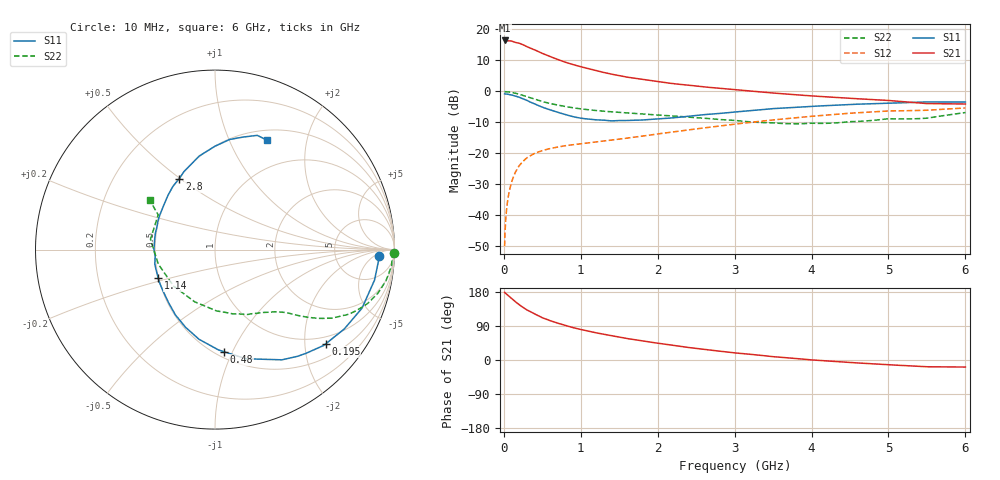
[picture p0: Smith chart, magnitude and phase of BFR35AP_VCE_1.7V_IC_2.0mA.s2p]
! Infineon Technologies  Discrete & RF Semiconductors
! BFR35AP
! VCE =  1.7 V,  IC =  2.0 mA
! Common Emitter S-Parameters:  Nov 2015
# GHz  S  MA  R  50
!  f  S11  S21  S12  S22
! GHz  MAG  ANG  MAG  ANG  MAG  ANG  MAG  ANG
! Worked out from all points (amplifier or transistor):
!   210 points, 10 MHz to 6 GHz, reference 50 ohm
!   highest |S21| = 16.5 dB at 10 MHz (marker M1)
!   |S21| within 3 dB of that: start of sweep to 396.7 MHz
!   unconditionally stable (mu >= 1): 1.122 GHz to end of sweep
!   at 185 MHz: K = 0.22, MSG = 20.1 dB, |S12| = -24.5 dB
!   at 1.52 GHz: K = 1.15, MAG = 7.8 dB, |S12| = -15.3 dB
!   at 6 GHz: K = 1.03, MAG = -0.4 dB, |S12| = -5.3 dB
!   S11 on the Smith chart (normalised r, x): 10 MHz: 19, -8; 195 MHz: 0.81, -2.49; 480 MHz: 0.55, -0.93; 1.14 GHz: 0.50, -0.18; 2.8 GHz: 0.50, +0.49; 6 GHz: 0.62, +1.39
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0.01  0.9143 -2.1  6.65 178.6  0.0032 87.6  0.9975 -1.0
0.025  0.9102 -5.5  6.539 175.5  0.0088 86.3  0.9885 -2.6
0.055  0.9013 -11.9  6.581 170.4  0.0193 82.7  0.9855 -5.8
0.1  0.8819 -21.7  6.513 162.6  0.0343 78.2  0.9681 -10.4
0.15  0.845 -31.6  6.189 153.6  0.0499 71.9  0.9391 -15.1
0.195  0.8101 -40.4  6.015 146.7  0.0622 66.8  0.9067 -18.9
0.24  0.7685 -48.8  5.739 140.0  0.0726 62.6  0.8697 -22.3
0.3  0.7187 -58.7  5.282 132.2  0.0852 58.5  0.8254 -25.9
0.4  0.632 -74.2  4.691 121.4  0.1005 52.3  0.7534 -30.5
0.48  0.5711 -85.0  4.221 113.7  0.109 48.6  0.7001 -33.2
0.6  0.5076 -100.1  3.662 103.9  0.1201 45.0  0.6395 -36.1
0.7  0.4631 -110.7  3.284 97.1  0.1269 43.2  0.6035 -37.8
0.9  0.3926 -131.3  2.711 85.4  0.1388 41.3  0.5452 -40.6
1.02  0.3681 -142.7  2.472 79.7  0.1443 41.2  0.5206 -42.2
1.14  0.3538 -153.7  2.267 74.3  0.1505 41.0  0.5012 -43.9
1.6  0.3404 172.0  1.704 56.7  0.1768 42.0  0.451 -50.8
2.02  0.363 148.0  1.432 43.7  0.2081 43.2  0.4152 -59.0
2.8  0.4419 116.8  1.128 23.4  0.2783 41.0  0.3537 -81.0
3.1  0.4781 109.0  1.042 17.0  0.3072 38.5  0.3319 -92.7
4.1  0.5837 88.4  0.833 -1.0  0.4071 27.9  0.3058 -144.2
5.1  0.6527 74.5  0.7 -13.6  0.4866 13.7  0.361 166.4
6  0.6752 64.5  0.628 -18.6  0.5426 3.2  0.4573 142.8
